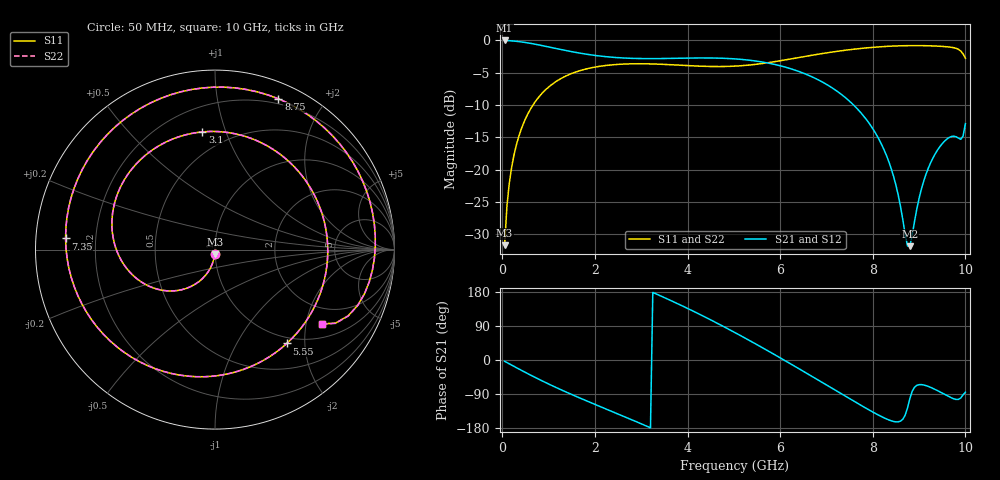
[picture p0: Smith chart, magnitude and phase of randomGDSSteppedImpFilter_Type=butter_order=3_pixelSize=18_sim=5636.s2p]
! freq	dB(S11)	phase(S11)	dB(S12)	phase(S12)
!  dB(S21)	phase(S21)	dB(S22)	phase(S22)
!S-par simulation data
#  GHz  S  DB  R 50
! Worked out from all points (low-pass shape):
!   200 points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, 50 MHz to 10 GHz, reference 50 ohm
!   highest |S21| = 0.00 dB at 50 MHz (marker M1); lowest = -31.8 dB at 8.8 GHz (marker M2)
!   |S21| within 3 dB of the highest: start of sweep to 5.266 GHz
!   lowest |S11| = -31.7 dB at 50 MHz (marker M3), VSWR 1.05, Z = 49.8 - j2.6 ohm
!   |S11| at or under -10 dB: start of sweep to 662.5 MHz
!   |S22| runs from -31.7 to -0.8 dB; largest |S21 - S12| = 0
!   S11 on the Smith chart (normalised r, x): 50 MHz: 1.00, -0.05; 3.1 GHz: 0.36, +0.83; 5.55 GHz: 0.90, -1.65; 7.35 GHz: 0.09, +0.04; 8.75 GHz: 0.15, +1.49; 10 GHz: 1.41, -2.49
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0.05  -31.66 -93.4  -0.00 -3.4  -0.00 -3.4  -31.68 -93.4
0.2  -19.70 -103.7  -0.07 -13.4  -0.07 -13.4  -19.71 -103.7
0.5  -12.13 -123.4  -0.32 -32.9  -0.32 -32.9  -12.12 -123.4
1.05  -6.92 -156.7  -1.08 -66.2  -1.08 -66.2  -6.92 -156.7
1.75  -4.52 165.2  -2.06 -104.2  -2.06 -104.2  -4.52 165.2
2.35  -3.79 134.6  -2.59 -134.9  -2.59 -134.9  -3.79 134.6
3.1  -3.62 96.1  -2.81 -173.6  -2.81 -173.6  -3.62 96.1
3.4  -3.68 80.0  -2.81 170.2  -2.81 170.2  -3.68 80.0
4.35  -4.00 25.4  -2.71 115.2  -2.71 115.2  -4.00 25.4
5.05  -3.97 -18.9  -2.87 70.7  -2.87 70.7  -3.96 -18.9
5.55  -3.63 -52.6  -3.27 37.1  -3.27 37.1  -3.63 -52.5
6.15  -2.96 -94.9  -4.20 -4.8  -4.20 -4.8  -2.96 -94.9
6.7  -2.28 -135.2  -5.67 -44.2  -5.67 -44.2  -2.28 -135.2
7.35  -1.57 175.7  -8.50 -91.2  -8.50 -91.2  -1.57 175.7
7.8  -1.20 141.1  -11.67 -123.4  -11.67 -123.4  -1.20 141.0
8.35  -0.90 98.3  -18.82 -158.3  -18.82 -158.3  -0.90 98.2
8.75  -0.81 67.2  -31.78 -126.6  -31.78 -126.6  -0.81 67.2
8.8  -0.80 63.4  -31.82 -102.1  -31.82 -102.1  -0.80 63.3
9.1  -0.81 40.2  -21.75 -65.9  -21.75 -65.9  -0.81 40.2
9.5  -0.92 9.1  -15.96 -87.3  -15.96 -87.3  -0.92 9.0
9.8  -1.22 -16.4  -14.90 -104.1  -14.90 -104.1  -1.22 -16.5
10  -2.76 -34.7  -12.86 -85.0  -12.86 -85.0  -2.76 -34.8
